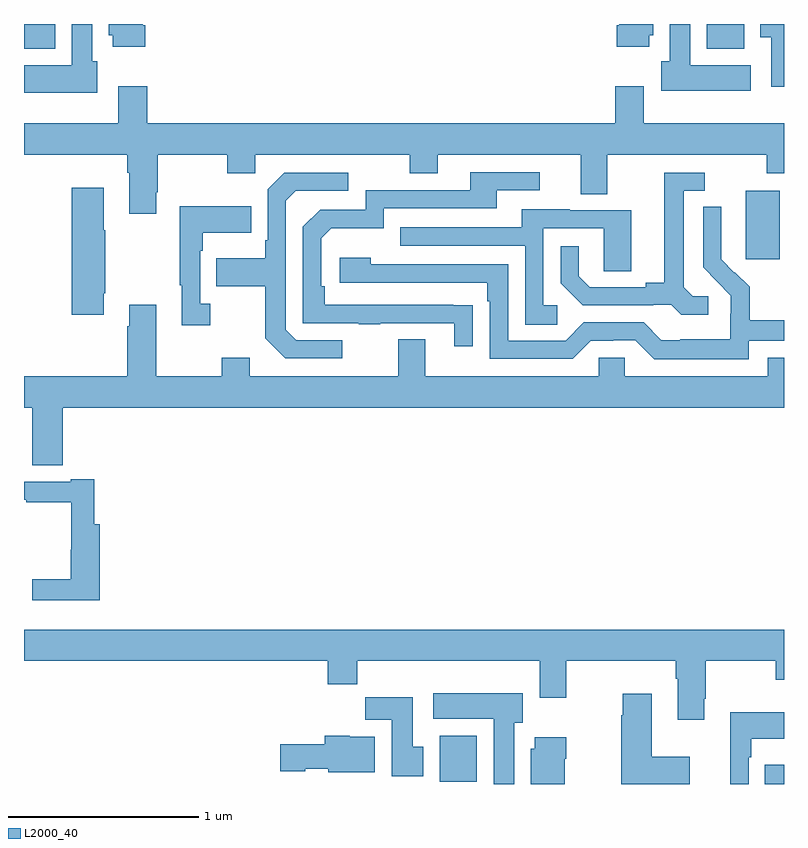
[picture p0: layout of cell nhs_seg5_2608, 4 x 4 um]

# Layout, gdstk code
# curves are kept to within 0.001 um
import gdstk
lib = gdstk.Library(unit=1e-6, precision=1e-09)
def R(c, l, rs):  # rectangles x0, y0, x1, y1
    for r in rs: c.add(gdstk.rectangle(r[:2], r[2:], *l))
def P(c, l, *ps):  # polygons
    for p in ps: c.add(gdstk.Polygon(p, *l))
L2000_40 = (2000, 40)

nhs_seg5_2608 = lib.new_cell('nhs_seg5_2608')
R(nhs_seg5_2608, L2000_40, [(266.899,834.799,267,834.901), (265.187,834.812,265.384,835.054), (266.798,837.561,266.977,837.922), (263,838.67,263.164,838.799), (266.594,838.67,266.791,838.799)])
P(nhs_seg5_2608, L2000_40, [(266.29,838.74),(266.311,838.74),(266.311,838.799),(266.132,838.799),(266.132,838.792),(266.12,838.792),(266.12,838.68),(266.29,838.68)],
  [(267,838.799),(266.876,838.799),(266.876,838.729),(266.933,838.729),(266.933,838.47),(267,838.47)],
  [(263.639,838.792),(263.626,838.792),(263.626,838.799),(263.447,838.799),(263.447,838.74),(263.468,838.74),(263.468,838.68),(263.639,838.68)],
  [(263.386,838.602),(263.359,838.602),(263.359,838.799),(263.252,838.799),(263.252,838.582),(263,838.582),(263,838.436),(263.386,838.436)],
  [(266.824,838.582),(266.506,838.582),(266.506,838.799),(266.399,838.799),(266.399,838.602),(266.354,838.602),(266.354,838.448),(266.824,838.448)],
  [(263.695,837.913),(263.703,837.913),(263.703,838.112),(264.07,838.112),(264.07,838.013),(264.216,838.013),(264.216,838.112),(265.03,838.112),(265.03,838.013),(265.177,838.013),(265.177,838.112),(265.931,838.112),(265.931,837.904),(266.071,837.904),(266.071,838.112),(266.908,838.112),(266.908,838.013),(267,838.013),(267,838.276),(266.263,838.276),(266.263,838.471),(266.111,838.471),(266.111,838.276),(263.648,838.276),(263.648,838.471),(263.495,838.471),(263.495,838.276),(263,838.276),(263,838.112),(263.543,838.112),(263.543,838.016),(263.555,838.016),(263.555,837.801),(263.695,837.801)],
  [(265.361,837.32),(264.584,837.321),(264.584,837.418),(264.564,837.418),(264.564,837.672),(264.617,837.725),(264.894,837.725),(264.894,837.828),(265.489,837.828),(265.489,837.924),(265.714,837.924),(265.714,838.02),(265.349,838.02),(265.349,837.924),(264.798,837.924),(264.798,837.822),(264.558,837.822),(264.468,837.732),(264.468,837.225),(264.763,837.225),(264.763,837.22),(264.875,837.22),(264.875,837.225),(265.265,837.225),(265.265,837.102),(265.361,837.102)],
  [(264.676,837.135),(264.432,837.135),(264.378,837.189),(264.378,837.87),(264.429,837.921),(264.706,837.921),(264.706,838.017),(264.369,838.017),(264.282,837.93),(264.282,837.661),(264.27,837.661),(264.27,837.565),(264.013,837.565),(264.013,837.418),(264.27,837.418),(264.27,837.145),(264.375,837.039),(264.676,837.039)],
  [(266.602,837.366),(266.52,837.366),(266.473,837.413),(266.473,837.921),(266.584,837.921),(266.584,838.017),(266.369,838.017),(266.369,837.437),(266.273,837.437),(266.273,837.414),(265.978,837.414),(265.921,837.471),(265.921,837.628),(265.824,837.628),(265.824,837.434),(265.94,837.318),(266.312,837.318),(266.312,837.321),(266.406,837.321),(266.458,837.269),(266.602,837.269)],
  [(263.419,837.382),(263.427,837.382),(263.427,837.713),(263.419,837.713),(263.419,837.937),(263.252,837.937),(263.252,837.27),(263.419,837.27)],
  [(263.98,837.326),(263.928,837.326),(263.928,837.605),(263.941,837.605),(263.941,837.701),(264.197,837.701),(264.197,837.841),(263.82,837.841),(263.82,837.425),(263.831,837.425),(263.831,837.213),(263.98,837.213)],
  [(266.814,837.132),(267,837.132),(267,837.241),(266.819,837.241),(266.819,837.415),(266.742,837.492),(266.739,837.489),(266.669,837.56),(266.67,837.836),(266.574,837.836),(266.574,837.518),(266.72,837.37),(266.72,837.273),(266.718,837.273),(266.718,837.139),(266.455,837.139),(266.455,837.135),(266.355,837.135),(266.262,837.228),(265.947,837.228),(265.851,837.132),(265.548,837.132),(265.548,837.534),(264.824,837.534),(264.824,837.568),(264.663,837.568),(264.663,837.438),(265.439,837.438),(265.439,837.341),(265.452,837.341),(265.452,837.036),(265.887,837.036),(265.983,837.132),(266.102,837.132),(266.102,837.135),(266.217,837.135),(266.317,837.035),(266.814,837.035)],
  [(265.807,837.318),(265.734,837.318),(265.734,837.723),(266.052,837.723),(266.052,837.499),(266.197,837.499),(266.197,837.819),(265.873,837.819),(265.873,837.823),(265.619,837.823),(265.619,837.729),(264.979,837.729),(264.979,837.633),(265.638,837.633),(265.638,837.217),(265.807,837.217)],
  [(263.204,836.78),(267,836.78),(267,837.043),(266.915,837.043),(266.915,836.944),(266.163,836.944),(266.163,837.042),(266.025,837.042),(266.025,836.944),(265.111,836.944),(265.111,837.139),(264.971,837.139),(264.971,836.944),(264.187,836.944),(264.187,837.043),(264.04,837.043),(264.04,836.944),(263.695,836.944),(263.695,837.322),(263.555,837.322),(263.555,837.209),(263.543,837.209),(263.543,836.944),(263,836.944),(263,836.78),(263.044,836.78),(263.044,836.476),(263.204,836.476)],
  [(263.399,836.167),(263.369,836.167),(263.369,836.404),(263.246,836.404),(263.246,836.391),(263,836.391),(263,836.295),(263.011,836.295),(263.011,836.283),(263.248,836.283),(263.248,836.031),(263.246,836.031),(263.246,835.876),(263.043,835.876),(263.043,835.766),(263.399,835.766)],
  [(266.581,835.249),(266.589,835.249),(266.589,835.448),(266.956,835.448),(266.956,835.349),(267,835.349),(267,835.612),(263,835.612),(263,835.448),(264.599,835.448),(264.599,835.324),(264.755,835.324),(264.755,835.448),(265.715,835.448),(265.715,835.254),(265.855,835.254),(265.855,835.448),(266.429,835.448),(266.429,835.352),(266.441,835.352),(266.441,835.137),(266.581,835.137)],
  [(265.579,835.122),(265.624,835.122),(265.624,835.276),(265.155,835.276),(265.155,835.142),(265.472,835.142),(265.472,834.799),(265.579,834.799)],
  [(266.503,834.943),(266.305,834.943),(266.305,835.273),(266.15,835.273),(266.15,835.16),(266.143,835.16),(266.143,834.799),(266.503,834.799)],
  [(265.102,834.996),(265.045,834.996),(265.045,835.255),(264.796,835.255),(264.796,835.136),(264.935,835.136),(264.935,834.84),(265.102,834.84)],
  [(266.814,834.941),(266.827,834.941),(266.827,835.037),(267,835.037),(267,835.177),(266.717,835.177),(266.717,834.799),(266.814,834.799)],
  [(264.847,835.048),(264.714,835.048),(264.714,835.054),(264.584,835.054),(264.584,835.008),(264.348,835.008),(264.348,834.866),(264.48,834.866),(264.48,834.878),(264.6,834.878),(264.6,834.86),(264.847,834.86)],
  [(265.846,834.932),(265.854,834.932),(265.854,835.045),(265.688,835.045),(265.688,834.984),(265.667,834.984),(265.667,834.799),(265.846,834.799)])

lib.write_gds('nhs_seg5_2608.gds')
